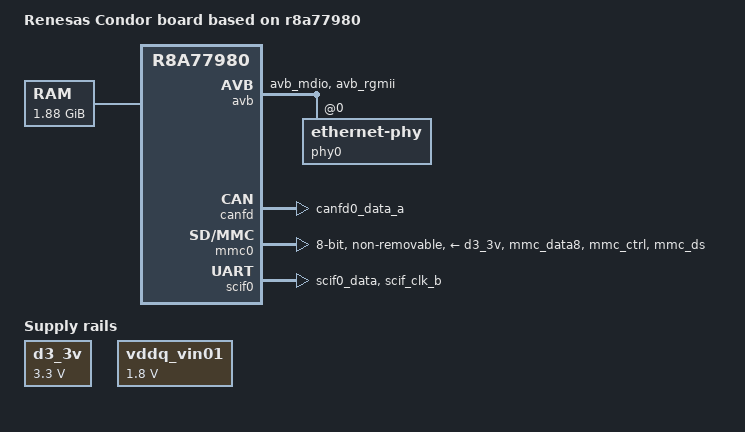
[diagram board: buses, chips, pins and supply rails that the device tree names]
// SPDX-License-Identifier: GPL-2.0
/*
 * Device Tree Source for the Condor board
 *
 * Copyright (C) 2018 Renesas Electronics Corp.
 * Copyright (C) 2018 Cogent Embedded, Inc.
 */

/dts-v1/;
#include "r8a77980.dtsi"

/ {
	model = "Renesas Condor board based on r8a77980";
	compatible = "renesas,condor", "renesas,r8a77980";

	aliases {
		serial0 = &scif0;
		ethernet0 = &avb;
	};

	chosen {
		stdout-path = "serial0:115200n8";
	};

	memory@48000000 {
		device_type = "memory";
		/* first 128MB is reserved for secure area. */
		reg = <0 0x48000000 0 0x78000000>;
	};

	reserved-memory {
		#address-cells = <2>;
		#size-cells = <2>;
		ranges;

		/* device specific region for Lossy Decompression */
		lossy_decompress: linux,lossy_decompress {
			no-map;
			reg = <0x00000000 0x6c000000 0x0 0x03000000>;
		};

		/* global autoconfigured region for contiguous allocations */
		linux,cma {
			compatible = "shared-dma-pool";
			reusable;
			reg = <0x00000000 0x6f000000 0x0 0x10000000>;
			linux,cma-default;
		};

		/* device specific region for contiguous allocations */
		linux,multimedia {
			compatible = "shared-dma-pool";
			reusable;
			reg = <0x00000000 0x7f000000 0x0 0x01000000>;
		};
	};

	mmngr {
		compatible = "renesas,mmngr";
		memory-region = <&lossy_decompress>;
	};

	mmngrbuf {
		compatible = "renesas,mmngrbuf";
	};

	vspm_if {
		compatible = "renesas,vspm_if";
	};

	d3_3v: regulator-0 {
		compatible = "regulator-fixed";
		regulator-name = "D3.3V";
		regulator-min-microvolt = <3300000>;
		regulator-max-microvolt = <3300000>;
		regulator-boot-on;
		regulator-always-on;
	};

	vddq_vin01: regulator-1 {
		compatible = "regulator-fixed";
		regulator-name = "VDDQ_VIN01";
		regulator-min-microvolt = <1800000>;
		regulator-max-microvolt = <1800000>;
		regulator-boot-on;
		regulator-always-on;
	};
};

&avb {
	pinctrl-0 = <&avb_pins>;
	pinctrl-names = "default";

	phy-mode = "rgmii-id";
	phy-handle = <&phy0>;
	renesas,no-ether-link;
	status = "okay";

	phy0: ethernet-phy@0 {
		rxc-skew-ps = <1500>;
		reg = <0>;
	};
};

&canfd {
	pinctrl-0 = <&canfd0_pins>;
	pinctrl-names = "default";
	status = "okay";

	channel0 {
		status = "okay";
	};
};

&extal_clk {
	clock-frequency = <16666666>;
};

&extalr_clk {
	clock-frequency = <32768>;
};

&mmc0 {
	pinctrl-0 = <&mmc_pins>;
	pinctrl-1 = <&mmc_pins_uhs>;
	pinctrl-names = "default", "state_uhs";

	vmmc-supply = <&d3_3v>;
	vqmmc-supply = <&vddq_vin01>;
	mmc-hs200-1_8v;
	bus-width = <8>;
	non-removable;
	status = "okay";
};

&pfc {
	avb_pins: avb {
		groups = "avb_mdio", "avb_rgmii";
		function = "avb";
	};

	canfd0_pins: canfd0 {
		groups = "canfd0_data_a";
		function = "canfd0";
	};

	mmc_pins: mmc {
		groups = "mmc_data8", "mmc_ctrl", "mmc_ds";
		function = "mmc";
		power-source = <3300>;
	};

	mmc_pins_uhs: mmc_uhs {
		groups = "mmc_data8", "mmc_ctrl", "mmc_ds";
		function = "mmc";
		power-source = <1800>;
	};

	scif0_pins: scif0 {
		groups = "scif0_data";
		function = "scif0";
	};

	scif_clk_pins: scif_clk {
		groups = "scif_clk_b";
		function = "scif_clk";
	};
};

&scif0 {
	pinctrl-0 = <&scif0_pins>, <&scif_clk_pins>;
	pinctrl-names = "default";

	status = "okay";
};

&scif_clk {
	clock-frequency = <14745600>;
};
